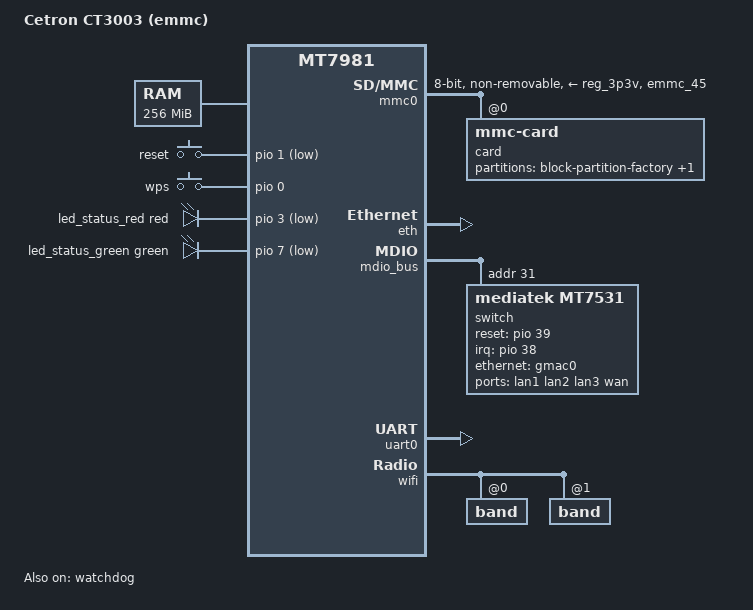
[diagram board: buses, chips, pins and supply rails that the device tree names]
// SPDX-License-Identifier: GPL-2.0-or-later OR MIT

/dts-v1/;
#include <dt-bindings/gpio/gpio.h>
#include <dt-bindings/input/input.h>
#include <dt-bindings/leds/common.h>

#include "mt7981.dtsi"

/ {

	model = "Cetron CT3003 (emmc)";
	compatible = "cetron,ct3003-emmc", "mediatek,mt7981";
	
	aliases {
		serial0 = &uart0;
		label-mac-device = &gmac0;
		led-boot = &led_status_red;
		led-failsafe = &led_status_red;
		led-running = &led_status_green;
		led-upgrade = &led_status_green;
	};

	chosen: chosen {
		stdout-path = "serial0:115200n8";
		bootargs = "root=PARTLABEL=rootfs rootwait rootfstype=squashfs,f2fs";
	};

	memory {
		reg = <0 0x40000000 0 0x10000000>;
	};

	gpio-keys {
		compatible = "gpio-keys";

		button-reset {
			label = "reset";
			linux,code = <KEY_RESTART>;
			gpios = <&pio 1 GPIO_ACTIVE_LOW>;
		};

		button-wps {
			label = "wps";
			linux,code = <KEY_WPS_BUTTON>;
			gpios = <&pio 0 GPIO_ACTIVE_HIGH>;
		};
	};

	gpio-leds {
		compatible = "gpio-leds";

		led_status_red: led_status_red {
			function = LED_FUNCTION_STATUS;
			color = <LED_COLOR_ID_RED>;
			gpios = <&pio 3 GPIO_ACTIVE_LOW>;
		};

		led_status_green: led_status_green {
			function = LED_FUNCTION_STATUS;
			color = <LED_COLOR_ID_GREEN>;
			gpios = <&pio 7 GPIO_ACTIVE_LOW>;
		};
	};
};

&mmc0 {
	bus-width = <8>;
	max-frequency = <26000000>;
	no-sd;
	no-sdio;
	non-removable;
	pinctrl-names = "default", "state_uhs";
	pinctrl-0 = <&mmc0_pins_default>;
	pinctrl-1 = <&mmc0_pins_uhs>;
	vmmc-supply = <&reg_3p3v>;
	status = "okay";

	card@0 {
	compatible = "mmc-card";
	reg = <0>;

	block {
		compatible = "block-device";

		partitions {
			block-partition-factory {
				partname = "factory";

				nvmem-layout {
					compatible = "fixed-layout";
					#address-cells = <1>;
					#size-cells = <1>;

					eeprom_factory_0: eeprom@0 {
						reg = <0x0 0x1000>;
					};
				};
			};

			block-partition-art {
				partname = "art";

				nvmem-layout {
					compatible = "fixed-layout";
					#address-cells = <1>;
					#size-cells = <1>;

					macaddr_art_0: macaddr@0 {
						compatible = "mac-base";
						reg = <0x0 0x6>;
						#nvmem-cell-cells = <1>;
					};
				};
			};
			
		};
	};
};
};

&eth {
	status = "okay";

	gmac0: mac@0 {
		compatible = "mediatek,eth-mac";
		reg = <0>;
		phy-mode = "2500base-x";

		nvmem-cells = <&macaddr_art_0 0>;
		nvmem-cell-names = "mac-address";

		fixed-link {
			speed = <2500>;
			full-duplex;
			pause;
		};
	};
};

&mdio_bus {
	switch: switch@1f {
		compatible = "mediatek,mt7531";
		reg = <31>;
		reset-gpios = <&pio 39 GPIO_ACTIVE_HIGH>;
		interrupt-controller;
		#interrupt-cells = <1>;
		interrupt-parent = <&pio>;
		interrupts = <38 IRQ_TYPE_LEVEL_HIGH>;
	};
};

&switch {
	ports {
		#address-cells = <1>;
		#size-cells = <0>;

		port@0 {
			reg = <0>;
			label = "lan1";
		};

		port@1 {
			reg = <1>;
			label = "lan2";
		};

		port@2 {
			reg = <2>;
			label = "lan3";
		};

		port@3 {
			reg = <3>;
			label = "wan";
			
			nvmem-cells = <&macaddr_art_0 3>;
			nvmem-cell-names = "mac-address";
		};

		port@6 {
			reg = <6>;
			ethernet = <&gmac0>;
			phy-mode = "2500base-x";

			fixed-link {
				speed = <2500>;
				full-duplex;
				pause;
			};
		};
	};
};

&pio {
	mmc0_pins_default: mmc0-pins {
		mux {
			function = "flash";
			groups = "emmc_45";
		};
	};

	mmc0_pins_uhs: mmc0-uhs-pins {
		mux {
			function = "flash";
			groups = "emmc_45";
		};
	};
};

&uart0 {
	status = "okay";
};

&watchdog {
	status = "okay";
};

&wifi {
	status = "okay";
	nvmem-cells = <&eeprom_factory_0>;
	nvmem-cell-names = "eeprom";

	band@0 {
		reg = <0>;
		nvmem-cells = <&macaddr_art_0 1>;
		nvmem-cell-names = "mac-address";
	};

	band@1 {
		reg = <1>;
		nvmem-cells = <&macaddr_art_0 2>;
		nvmem-cell-names = "mac-address";
	};
};
